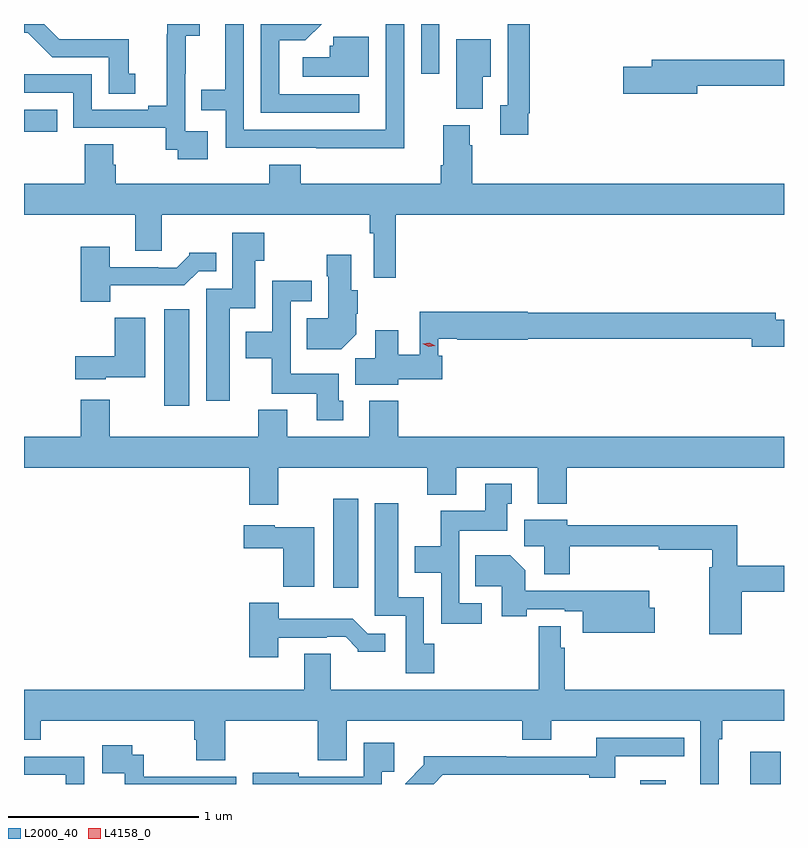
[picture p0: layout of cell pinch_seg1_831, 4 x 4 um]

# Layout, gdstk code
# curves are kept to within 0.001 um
import gdstk
lib = gdstk.Library(unit=1e-6, precision=1e-09)
def R(c, l, rs):  # rectangles x0, y0, x1, y1
    for r in rs: c.add(gdstk.rectangle(r[:2], r[2:], *l))
def P(c, l, *ps):  # polygons
    for p in ps: c.add(gdstk.Polygon(p, *l))
L2000_40 = (2000, 40)
L4158_0 = (4158, 0)

pinch_seg1_831 = lib.new_cell('pinch_seg1_831')
R(pinch_seg1_831, L2000_40, [(375.215,532.752,375.349,532.771), (375.794,532.752,375.953,532.921), (373.598,533.784,373.729,534.253), (372.71,534.744,372.841,535.252), (371.971,536.186,372.146,536.301), (374.061,536.49,374.157,536.752)])
P(pinch_seg1_831, L2000_40, [(373.973,536.402),(373.971,536.402),(373.971,536.752),(373.875,536.752),(373.875,536.196),(373.128,536.196),(373.128,536.752),(373.031,536.752),(373.031,536.407),(372.904,536.407),(372.904,536.298),(373.032,536.298),(373.032,536.1),(373.51,536.1),(373.51,536.099),(373.973,536.099)],
  [(372.937,536.187),(372.819,536.187),(372.819,536.491),(372.821,536.491),(372.821,536.689),(372.895,536.689),(372.895,536.752),(372.724,536.752),(372.724,536.699),(372.722,536.699),(372.722,536.321),(372.626,536.321),(372.626,536.301),(372.327,536.301),(372.327,536.487),(371.971,536.487),(371.971,536.391),(372.231,536.391),(372.231,536.205),(372.718,536.205),(372.718,536.091),(372.781,536.091),(372.781,536.04),(372.937,536.04)],
  [(374.626,536.281),(374.633,536.281),(374.633,536.752),(374.517,536.752),(374.517,536.325),(374.477,536.325),(374.477,536.169),(374.626,536.169)],
  [(372.556,536.49),(372.523,536.49),(372.523,536.673),(372.156,536.673),(372.077,536.752),(371.971,536.752),(371.971,536.705),(371.992,536.705),(372.12,536.577),(372.416,536.577),(372.416,536.386),(372.556,536.386)],
  [(373.735,536.382),(373.314,536.382),(373.314,536.667),(373.452,536.667),(373.537,536.752),(373.218,536.752),(373.218,536.286),(373.735,536.286)],
  [(373.786,536.685),(373.599,536.685),(373.599,536.637),(373.581,536.637),(373.581,536.578),(373.437,536.578),(373.437,536.474),(373.786,536.474)],
  [(374.386,536.474),(374.428,536.474),(374.428,536.671),(374.246,536.671),(374.246,536.305),(374.386,536.305)],
  [(375.514,536.428),(375.971,536.428),(375.971,536.564),(375.275,536.564),(375.275,536.528),(375.126,536.528),(375.126,536.386),(375.514,536.386)],
  [(373.928,535.748),(375.971,535.748),(375.971,535.912),(374.33,535.912),(374.33,536.114),(374.317,536.114),(374.317,536.22),(374.177,536.22),(374.177,536.008),(374.165,536.008),(374.165,535.912),(373.427,535.912),(373.427,536.011),(373.262,536.011),(373.262,535.912),(372.455,535.912),(372.455,536.01),(372.442,536.01),(372.442,536.12),(372.29,536.12),(372.29,535.912),(371.971,535.912),(371.971,535.748),(372.557,535.748),(372.557,535.558),(372.697,535.558),(372.697,535.748),(373.792,535.748),(373.792,535.652),(373.812,535.652),(373.812,535.416),(373.928,535.416)],
  [(373.054,535.256),(373.189,535.256),(373.189,535.507),(373.236,535.507),(373.236,535.654),(373.067,535.654),(373.067,535.359),(372.929,535.359),(372.929,534.768),(373.054,534.768)],
  [(372.424,535.376),(372.815,535.376),(372.891,535.452),(372.982,535.452),(372.982,535.549),(372.84,535.549),(372.84,535.534),(372.776,535.47),(372.677,535.47),(372.677,535.473),(372.421,535.473),(372.421,535.579),(372.269,535.579),(372.269,535.289),(372.424,535.289)],
  [(373.72,535.118),(373.72,535.228),(373.728,535.228),(373.728,535.35),(373.693,535.35),(373.693,535.537),(373.564,535.537),(373.564,535.424),(373.571,535.424),(373.571,535.204),(373.459,535.204),(373.459,535.04),(373.642,535.04)],
  [(373.651,534.768),(373.627,534.768),(373.627,534.91),(373.374,534.91),(373.374,535.293),(373.486,535.293),(373.486,535.401),(373.278,535.401),(373.278,535.132),(373.139,535.132),(373.139,534.992),(373.276,534.992),(373.276,534.806),(373.511,534.806),(373.511,534.666),(373.651,534.666)],
  [(373.942,534.882),(374.171,534.882),(374.171,535.007),(374.151,535.007),(374.151,535.096),(374.25,535.096),(374.25,535.091),(374.622,535.091),(374.622,535.096),(375.8,535.096),(375.8,535.054),(375.971,535.054),(375.971,535.196),(375.928,535.196),(375.928,535.232),(374.622,535.232),(374.622,535.238),(374.055,535.238),(374.055,535.01),(373.942,535.01),(373.942,535.141),(373.82,535.141),(373.82,534.992),(373.715,534.992),(373.715,534.854),(373.942,534.854)],
  [(372.402,534.893),(372.61,534.893),(372.61,535.207),(372.448,535.207),(372.448,535.003),(372.24,535.003),(372.24,534.881),(372.402,534.881)],
  [(373.309,534.416),(374.093,534.416),(374.093,534.275),(374.245,534.275),(374.245,534.416),(374.675,534.416),(374.675,534.227),(374.828,534.227),(374.828,534.416),(375.971,534.416),(375.971,534.58),(373.94,534.58),(373.94,534.769),(373.787,534.769),(373.787,534.58),(373.357,534.58),(373.357,534.721),(373.205,534.721),(373.205,534.58),(372.421,534.58),(372.421,534.775),(372.269,534.775),(372.269,534.58),(371.971,534.58),(371.971,534.416),(373.157,534.416),(373.157,534.222),(373.309,534.222)],
  [(374.38,533.703),(374.262,533.703),(374.262,534.086),(374.515,534.086),(374.515,534.228),(374.539,534.228),(374.539,534.331),(374.399,534.331),(374.399,534.19),(374.164,534.19),(374.164,534.004),(374.027,534.004),(374.027,533.864),(374.166,533.864),(374.166,533.595),(374.38,533.595)],
  [(374.129,533.49),(374.076,533.49),(374.076,533.734),(373.942,533.734),(373.942,534.229),(373.817,534.229),(373.817,533.637),(373.98,533.637),(373.98,533.334),(374.129,533.334)],
  [(375.749,533.764),(375.971,533.764),(375.971,533.9),(375.725,533.9),(375.725,534.115),(374.83,534.115),(374.83,534.142),(374.603,534.142),(374.603,534.004),(374.708,534.004),(374.708,533.856),(374.843,533.856),(374.843,534.004),(375.312,534.004),(375.312,533.986),(375.593,533.986),(375.593,533.893),(375.578,533.893),(375.578,533.541),(375.749,533.541)],
  [(373.498,534.103),(373.29,534.103),(373.29,534.115),(373.128,534.115),(373.128,533.993),(373.336,533.993),(373.336,533.789),(373.498,533.789)],
  [(375.292,533.679),(375.262,533.679),(375.262,533.77),(374.608,533.769),(374.608,533.878),(374.53,533.956),(374.347,533.956),(374.347,533.792),(374.486,533.792),(374.486,533.635),(374.616,533.635),(374.616,533.673),(374.816,533.673),(374.816,533.661),(374.912,533.661),(374.912,533.549),(375.292,533.549)],
  [(373.309,533.523),(373.565,533.523),(373.565,533.526),(373.664,533.526),(373.728,533.462),(373.728,533.447),(373.873,533.447),(373.873,533.544),(373.779,533.544),(373.701,533.623),(373.312,533.623),(373.312,533.707),(373.157,533.707),(373.157,533.418),(373.309,533.418)],
  [(375.628,532.988),(375.647,532.988),(375.647,533.084),(375.971,533.084),(375.971,533.248),(374.816,533.248),(374.816,533.468),(374.796,533.468),(374.796,533.581),(374.68,533.581),(374.68,533.248),(373.585,533.248),(373.585,533.438),(373.445,533.438),(373.445,533.248),(371.971,533.248),(371.971,532.985),(372.059,532.985),(372.059,533.084),(372.866,533.084),(372.866,532.986),(372.878,532.986),(372.878,532.876),(373.031,532.876),(373.031,533.084),(373.517,533.084),(373.517,532.876),(373.669,532.876),(373.669,533.084),(374.594,533.084),(374.594,532.985),(374.746,532.985),(374.746,533.084),(375.531,533.084),(375.531,532.752),(375.628,532.752)],
  [(374.175,532.8),(374.946,532.8),(374.946,532.784),(375.082,532.784),(375.082,532.899),(375.446,532.899),(375.446,532.995),(374.983,532.995),(374.983,532.896),(374.51,532.896),(374.51,532.898),(374.076,532.898),(374.076,532.853),(373.977,532.754),(373.977,532.752),(374.127,532.752)],
  [(373.854,532.817),(373.919,532.817),(373.919,532.969),(373.758,532.969),(373.758,532.791),(373.417,532.791),(373.417,532.81),(373.174,532.81),(373.174,532.752),(373.854,532.752)],
  [(373.089,532.791),(372.602,532.791),(372.602,532.905),(372.54,532.905),(372.54,532.957),(372.384,532.957),(372.384,532.809),(372.501,532.809),(372.501,532.752),(373.089,532.752)],
  [(372.288,532.896),(371.971,532.896),(371.971,532.8),(372.192,532.8),(372.192,532.752),(372.288,532.752)])
P(pinch_seg1_831, L4158_0, [(374.101,535.054),(374.069,535.069),(374.069,535.07),(374.069,535.07),(374.104,535.074),(374.136,535.059),(374.136,535.059),(374.136,535.059)])

lib.write_gds('pinch_seg1_831.gds')
